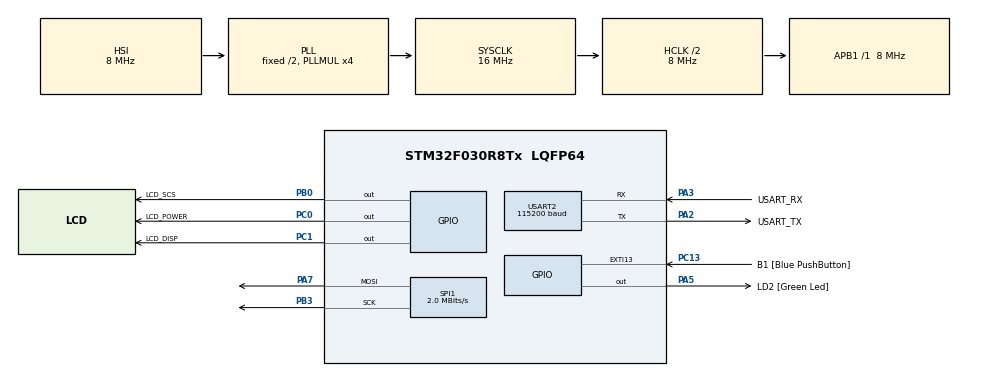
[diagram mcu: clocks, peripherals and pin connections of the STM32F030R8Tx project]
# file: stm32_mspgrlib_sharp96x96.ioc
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Mcu.Family=STM32F0
Mcu.Name=STM32F030R8Tx
Mcu.Package=LQFP64
PA13.GPIO_Label=TMS
PA13.Signal=SYS_SWDIO
PA14.GPIO_Label=TCK
PA14.Signal=SYS_SWCLK
PA2.GPIO_Label=USART_TX
PA2.GPIO_Mode=GPIO_MODE_AF_PP
PA2.GPIO_PuPd=GPIO_NOPULL
PA2.GPIO_Speed=GPIO_SPEED_FREQ_LOW
PA2.Mode=Asynchronous
PA2.Signal=USART2_TX
PA3.GPIO_Label=USART_RX
PA3.GPIO_Mode=GPIO_MODE_AF_PP
PA3.GPIO_PuPd=GPIO_NOPULL
PA3.GPIO_Speed=GPIO_SPEED_FREQ_LOW
PA3.Mode=Asynchronous
PA3.Signal=USART2_RX
PA5.GPIO_Label=LD2 [Green Led]
PA5.GPIO_Mode=GPIO_MODE_OUTPUT_PP
PA5.GPIO_PuPd=GPIO_NOPULL
PA5.GPIO_Speed=GPIO_SPEED_FREQ_LOW
PA5.Signal=GPIO_Output
PA7.Mode=TX_Only_Simplex_Unidirect_Master
PA7.Signal=SPI1_MOSI
PB0.GPIO_Label=LCD_SCS
PB0.Signal=GPIO_Output
PB3.Mode=TX_Only_Simplex_Unidirect_Master
PB3.Signal=SPI1_SCK
PC0.GPIO_Label=LCD_POWER
PC0.Signal=GPIO_Output
PC1.GPIO_Label=LCD_DISP
PC1.Signal=GPIO_Output
PC13.GPIO_Label=B1 [Blue PushButton]
PC13.GPIO_ModeDefaultEXTI=GPIO_MODE_IT_FALLING
PC13.Signal=GPXTI13
PC14-OSC32_IN.Signal=RCC_OSC32_IN
PC15-OSC32_OUT.Signal=RCC_OSC32_OUT
PF0-OSC_IN.Signal=RCC_OSC_IN
PF1-OSC_OUT.Signal=RCC_OSC_OUT
ProjectManager.HeapSize=0x200
ProjectManager.StackSize=0x400
ProjectManager.TargetToolchain=TrueSTUDIO
RCC.AHBCLKDivider=RCC_SYSCLK_DIV2
RCC.AHBFreq_Value=8000000
RCC.APB1Freq_Value=8000000
RCC.APB1TimFreq_Value=8000000
RCC.HCLKFreq_Value=8000000
RCC.PLLMUL=RCC_PLL_MUL4
RCC.SYSCLKFreq_VALUE=16000000
RCC.SYSCLKSource=RCC_SYSCLKSOURCE_PLLCLK
SPI1.BaudRatePrescaler=SPI_BAUDRATEPRESCALER_4
SPI1.CalculateBaudRate=2.0 MBits/s
SPI1.DataSize=SPI_DATASIZE_8BIT
SPI1.Direction=SPI_DIRECTION_2LINES
SPI1.FirstBit=SPI_FIRSTBIT_MSB
SPI1.Mode=SPI_MODE_MASTER
SPI1.NSSPMode=SPI_NSS_PULSE_DISABLE
SPI1.VirtualType=VM_MASTER
USART2.BaudRate=115200
USART2.VirtualMode-Asynchronous=VM_ASYNC
board=NUCLEO-F030R8

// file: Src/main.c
/**
  ******************************************************************************
  * File Name          : main.c
  * Description        : Main program body
  ******************************************************************************
  ** This notice applies to any and all portions of this file
  * that are not between comment pairs USER CODE BEGIN and
  * USER CODE END. Other portions of this file, whether
  * inserted by the user or by software development tools
  * are owned by their respective copyright owners.
  *
  * COPYRIGHT(c) 2018 STMicroelectronics
  *
  * Redistribution and use in source and binary forms, with or without modification,
  * are permitted provided that the following conditions are met:
  *   1. Redistributions of source code must retain the above copyright notice,
  *      this list of conditions and the following disclaimer.
  *   2. Redistributions in binary form must reproduce the above copyright notice,
  *      this list of conditions and the following disclaimer in the documentation
  *      and/or other materials provided with the distribution.
  *   3. Neither the name of STMicroelectronics nor the names of its contributors
  *      may be used to endorse or promote products derived from this software
  *      without specific prior written permission.
  *
  * THIS SOFTWARE IS PROVIDED BY THE COPYRIGHT HOLDERS AND CONTRIBUTORS "AS IS"
  * AND ANY EXPRESS OR IMPLIED WARRANTIES, INCLUDING, BUT NOT LIMITED TO, THE
  * IMPLIED WARRANTIES OF MERCHANTABILITY AND FITNESS FOR A PARTICULAR PURPOSE ARE
  * DISCLAIMED. IN NO EVENT SHALL THE COPYRIGHT HOLDER OR CONTRIBUTORS BE LIABLE
  * FOR ANY DIRECT, INDIRECT, INCIDENTAL, SPECIAL, EXEMPLARY, OR CONSEQUENTIAL
  * DAMAGES (INCLUDING, BUT NOT LIMITED TO, PROCUREMENT OF SUBSTITUTE GOODS OR
  * SERVICES; LOSS OF USE, DATA, OR PROFITS; OR BUSINESS INTERRUPTION) HOWEVER
  * CAUSED AND ON ANY THEORY OF LIABILITY, WHETHER IN CONTRACT, STRICT LIABILITY,
  * OR TORT (INCLUDING NEGLIGENCE OR OTHERWISE) ARISING IN ANY WAY OUT OF THE USE
  * OF THIS SOFTWARE, EVEN IF ADVISED OF THE POSSIBILITY OF SUCH DAMAGE.
  *
  ******************************************************************************
  */
#include "main.h"
#include "stm32f0xx_hal.h"
#include "spi.h"
#include "usart.h"
#include "gpio.h"

/* USER CODE BEGIN Includes */
#include "grlib.h"
#include "Sharp96x96.h"
#include "checkbox.h"
#include "radioButton.h"
/* USER CODE END Includes */

/* USER CODE BEGIN PV */
/* Private variables ---------------------------------------------------------*/
Graphics_Context g_sContext;
const Graphics_Rectangle myRectangle1 = { 5, 15, 65, 45};
const Graphics_Rectangle myRectangle2 = { 10, 40, 90, 90};
const Graphics_Rectangle myRectangleFrame = { 10, 40, 90, 60};

/* USER CODE END PV */

void SystemClock_Config(void);

/* USER CODE BEGIN PFP */
/* Private function prototypes -----------------------------------------------*/

/* USER CODE END PFP */

int main(void)
{

  /* MCU Configuration----------------------------------------------------------*/

  /* Reset of all peripherals, Initializes the Flash interface and the Systick. */
  HAL_Init();

  /* Configure the system clock */
  SystemClock_Config();

  /* Initialize all configured peripherals */
  MX_GPIO_Init();
  MX_SPI1_Init();
  MX_USART2_UART_Init();

  /* USER CODE BEGIN 2 */
  Sharp96x96_enable();
  Graphics_initContext(&g_sContext, &g_sharp96x96LCD);
  Graphics_setForegroundColor(&g_sContext, ClrBlack);
  Graphics_setBackgroundColor(&g_sContext, ClrWhite);
  Graphics_setFont(&g_sContext, &g_sFontFixed6x8);
  Graphics_clearDisplay(&g_sContext);

  // Flush Buffer to LCD
  Graphics_flushBuffer(&g_sContext);

  /* Intro Screen */
  Graphics_drawString(&g_sContext,
		  "Porting the MSP",
		  AUTO_STRING_LENGTH,
		  1,
		  15,
		  TRANSPARENT_TEXT);
  Graphics_drawString(&g_sContext,
		  "Graphics Library",
		  AUTO_STRING_LENGTH,
		  1,
		  31,
		  TRANSPARENT_TEXT);
  Graphics_drawString(&g_sContext,
		  "from MSP430",
		  AUTO_STRING_LENGTH,
		  1,
		  47,
		  TRANSPARENT_TEXT);
  Graphics_drawString(&g_sContext,
		  "to STM32F030R8",
		  AUTO_STRING_LENGTH,
		  1,
		  63,
		  TRANSPARENT_TEXT);

  // Flush Buffer to LCD
  Graphics_flushBuffer(&g_sContext);

  /* USER CODE END 2 */

  /* Infinite loop */
  while (1)
  {

  }

}

/** System Clock Configuration
*/
void SystemClock_Config(void)
{

  RCC_OscInitTypeDef RCC_OscInitStruct;
  RCC_ClkInitTypeDef RCC_ClkInitStruct;

    /**Initializes the CPU, AHB and APB busses clocks
    */
  RCC_OscInitStruct.OscillatorType = RCC_OSCILLATORTYPE_HSI;
  RCC_OscInitStruct.HSIState = RCC_HSI_ON;
  RCC_OscInitStruct.HSICalibrationValue = 16;
  RCC_OscInitStruct.PLL.PLLState = RCC_PLL_ON;
  RCC_OscInitStruct.PLL.PLLSource = RCC_PLLSOURCE_HSI;
  RCC_OscInitStruct.PLL.PLLMUL = RCC_PLL_MUL4;
  RCC_OscInitStruct.PLL.PREDIV = RCC_PREDIV_DIV1;
  if (HAL_RCC_OscConfig(&RCC_OscInitStruct) != HAL_OK)
  {
    _Error_Handler(__FILE__, __LINE__);
  }

    /**Initializes the CPU, AHB and APB busses clocks
    */
  RCC_ClkInitStruct.ClockType = RCC_CLOCKTYPE_HCLK|RCC_CLOCKTYPE_SYSCLK
                              |RCC_CLOCKTYPE_PCLK1;
  RCC_ClkInitStruct.SYSCLKSource = RCC_SYSCLKSOURCE_PLLCLK;
  RCC_ClkInitStruct.AHBCLKDivider = RCC_SYSCLK_DIV2;
  RCC_ClkInitStruct.APB1CLKDivider = RCC_HCLK_DIV1;

  if (HAL_RCC_ClockConfig(&RCC_ClkInitStruct, FLASH_LATENCY_0) != HAL_OK)
  {
    _Error_Handler(__FILE__, __LINE__);
  }

    /**Configure the Systick interrupt time
    */
  HAL_SYSTICK_Config(HAL_RCC_GetHCLKFreq()/1000);

    /**Configure the Systick
    */
  HAL_SYSTICK_CLKSourceConfig(SYSTICK_CLKSOURCE_HCLK);

  /* SysTick_IRQn interrupt configuration */
  HAL_NVIC_SetPriority(SysTick_IRQn, 0, 0);
}

void _Error_Handler(char * file, int line)
{
  while(1)
  {
  }
}

/************************ (C) COPYRIGHT STMicroelectronics *****END OF FILE****/
